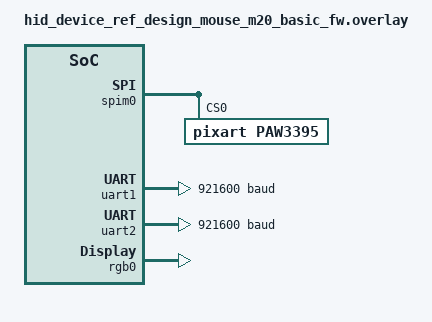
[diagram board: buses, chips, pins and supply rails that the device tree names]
/* Copyright Statement:
 *
 * (C) 2024  Airoha Technology Corp. All rights reserved.
 *
 * This software/firmware and related documentation ("Airoha Software") are
 * protected under relevant copyright laws. The information contained herein
 * is confidential and proprietary to Airoha Technology Corp. ("Airoha") and/or its licensors.
 * Without the prior written permission of Airoha and/or its licensors,
 * any reproduction, modification, use or disclosure of Airoha Software,
 * and information contained herein, in whole or in part, shall be strictly prohibited.
 * You may only use, reproduce, modify, or distribute (as applicable) Airoha Software
 * if you have agreed to and been bound by the applicable license agreement with
 * Airoha ("License Agreement") and been granted explicit permission to do so within
 * the License Agreement ("Permitted User").  If you are not a Permitted User,
 * please cease any access or use of Airoha Software immediately.
 * BY OPENING THIS FILE, RECEIVER HEREBY UNEQUIVOCALLY ACKNOWLEDGES AND AGREES
 * THAT AIROHA SOFTWARE RECEIVED FROM AIROHA AND/OR ITS REPRESENTATIVES
 * ARE PROVIDED TO RECEIVER ON AN "AS-IS" BASIS ONLY. AIROHA EXPRESSLY DISCLAIMS ANY AND ALL
 * WARRANTIES, EXPRESS OR IMPLIED, INCLUDING BUT NOT LIMITED TO THE IMPLIED WARRANTIES OF
 * MERCHANTABILITY, FITNESS FOR A PARTICULAR PURPOSE OR NONINFRINGEMENT.
 * NEITHER DOES AIROHA PROVIDE ANY WARRANTY WHATSOEVER WITH RESPECT TO THE
 * SOFTWARE OF ANY THIRD PARTY WHICH MAY BE USED BY, INCORPORATED IN, OR
 * SUPPLIED WITH AIROHA SOFTWARE, AND RECEIVER AGREES TO LOOK ONLY TO SUCH
 * THIRD PARTY FOR ANY WARRANTY CLAIM RELATING THERETO. RECEIVER EXPRESSLY ACKNOWLEDGES
 * THAT IT IS RECEIVER'S SOLE RESPONSIBILITY TO OBTAIN FROM ANY THIRD PARTY ALL PROPER LICENSES
 * CONTAINED IN AIROHA SOFTWARE. AIROHA SHALL ALSO NOT BE RESPONSIBLE FOR ANY AIROHA
 * SOFTWARE RELEASES MADE TO RECEIVER'S SPECIFICATION OR TO CONFORM TO A PARTICULAR
 * STANDARD OR OPEN FORUM. RECEIVER'S SOLE AND EXCLUSIVE REMEDY AND AIROHA'S ENTIRE AND
 * CUMULATIVE LIABILITY WITH RESPECT TO AIROHA SOFTWARE RELEASED HEREUNDER WILL BE,
 * AT AIROHA'S OPTION, TO REVISE OR REPLACE AIROHA SOFTWARE AT ISSUE,
 * OR REFUND ANY SOFTWARE LICENSE FEES OR SERVICE CHARGE PAID BY RECEIVER TO
 * AIROHA FOR SUCH AIROHA SOFTWARE AT ISSUE.
 */


&spim0 {
	frequency = <8000000>;
	status = "okay";
	paw3395: paw3395@0{
		compatible = "pixart,paw3395";
		reg= <0>;
		cpi = <1600>;
		lod = "lift_cut_off_2mm";
		rest_mode = <0>;
		motion_sync = <0>;
		ripple_control = <0>;
		angle_snap = <0>;
		mode = "cord";
		xy_direction = "no_direction_adjustment";
		rest1_period_time = <1>;
		rest2_period_time = <20>;
		rest3_period_time = <160>;
		status = "okay";
	};
};

&uart1 {
    status = "okay";
    current-speed = < 0xE1000 >;
    data-bits = <3>;
    stop-bits = <1>;
    parity = <0>;
    tbuf-size = <0>;
    rbuf-size = <0>;
};
&uart2 {
    status = "okay";
    current-speed = < 0xE1000 >;
    data-bits = <3>;
    stop-bits = <1>;
    parity = <0>;
    tbuf-size = <0>;
    rbuf-size = <0>;
};

&pwm_dma0 {
	led_rgb_frequency = <60>;
	status = "okay";
	channel_polarity = <1 1 1 1>;
	rgb_gpio_channel = <0>;
	rgb0: rgb@0{
		compatible = "airoha,air-rgb";
		reg = <0>;
		gpio_control = <38>;
		gpio_polarity = <1>;
		r_channel = <2>;
		g_channel = <1>;
		b_channel = <3>;
		port = <0>;
		status = "okay";
	};
};

&pinctrl {

	gpio0_default: gpio0_default {
		/** SPI pins for motion sensor */
		gpio19{
			pinmux = <GPIO_19_SPI_MST0_SCK>;
		};
		gpio20{
			pinmux = <GPIO_20_SPI_MST0_MISO>;
			bias-pull-up;
		};
		gpio21{
			pinmux = <GPIO_21_SPI_MST0_MOSI>;
		};
		gpio22{
			pinmux = <GPIO_22_SPI_MST0_CS0>;
			bias-pull-up;
		};

		/** Interrupt pin of motion sensor */
		gpio18{
			pinmux = <GPIO_18_EINT18>;
			bias-pull-up;
		};

		/** Mouse L Key */
		gpio5{
			pinmux = <GPIO_5_EINT5>;
			bias-pull-up;
			debounce = <20>;
		};
		
		/** Mouse R Key */
		gpio6{
			pinmux = <GPIO_6_EINT6>;
			bias-pull-up;
		};

		/** Mouse M Key */
		gpio17{
			pinmux = <GPIO_17_EINT17>;
			bias-pull-up;
		};

		/** Mouse FW Key */
		gpio23{
			pinmux = <GPIO_23_EINT23>;
			bias-pull-up;
		};

		/** Mouse BW Key */
		gpio24{
			pinmux = <GPIO_24_EINT24>;
			bias-pull-up;
		};

		/** DPI Key */
		gpio29{
			pinmux = <GPIO_29_EINT29>;
			bias-pull-up;
		};
		
		/** Report Rate Change Key */
		gpio45{
			pinmux = <GPIO_45_EINT45>;
			bias-pull-up;
		};

		/** Slide Switch BT Mode */
		gpio46{
			pinmux = <GPIO_46_EINT46>;
			bias-pull-up;
		};

		/** Slide Switch Gaming Mode */
		gpio47{
			pinmux = <GPIO_47_EINT47>;
			bias-pull-up;
		};

		/** QDEC Input */
		gpio0{
			pinmux = <GPIO_0_RTC_QDEC_IN0>;
			bias-pull-up;
		};
		
		/** QDEC Input */
		gpio1{
			pinmux = <GPIO_1_RTC_QDEC_IN1>;
			bias-pull-up;
		};

		/** LED/RGB */		
		gpio35{
			pinmux = <GPIO_35_PWM1>;			
		};
		gpio36{
			pinmux = <GPIO_36_PWM2>;
		};
		gpio37{
			pinmux = <GPIO_37_PWM3>;
		};
	};

	gpio1_default: gpio1_default {

	};
};

/* set WDT timeout to 5 second */
&wdt0 {
	timeout-sec = <5>;
};



